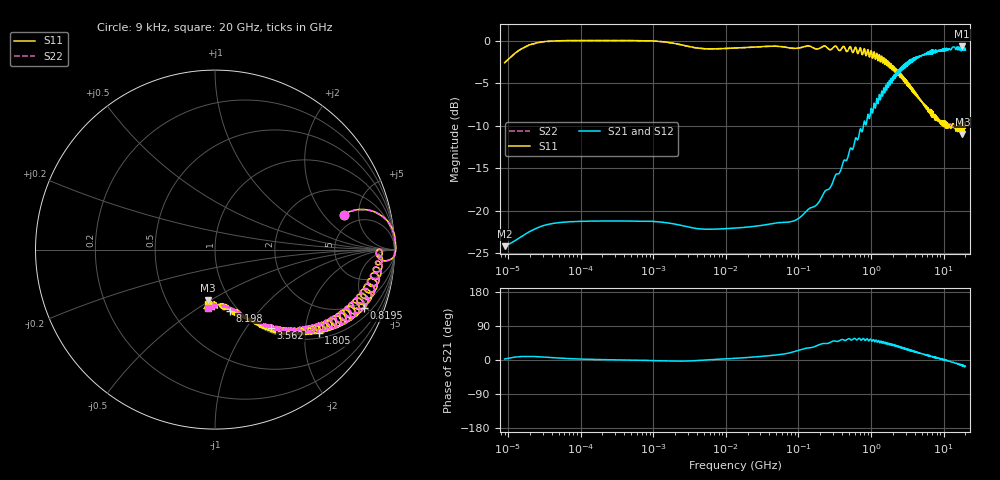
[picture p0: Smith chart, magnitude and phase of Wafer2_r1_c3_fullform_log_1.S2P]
!  2-Port S-parameters saved by WinCal
! VAR MeasName=S-Parameters (CALIBRATED_DATA) read from VNA (P5004A)
! VAR MeasDate=26/04/2024 19:13:18
! VAR NAME=Wafer2_r1_c3_fullform_log
! VAR FILENAME=Wafer2_r1_c3_fullform_log_1.S2P
! VAR DATE=26/04/2024 19:13:18
! VAR PHYS_PORTS=1,2
! VAR ObjTypeName=DATASET
! VAR IndexType=Frequency
# Hz S MA R 50
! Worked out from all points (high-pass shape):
!   2000 points, 9 kHz to 20 GHz, reference 50 ohm
!   highest |S21| = -0.64 dB at 18.05 GHz (marker M1); lowest = -24.2 dB at 9 kHz (marker M2)
!   |S21| within 3 dB of the highest: 2.449 GHz to 2.523 GHz (74.02 MHz wide, 2.98 % of centre); 2.533 GHz to end of sweep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
!   lowest |S11| = -11.0 dB at 18.19 GHz (marker M3), VSWR 1.79, Z = 39.6 - j24.2 ohm
!   |S11| at or under -10 dB: 12.13 GHz to 12.95 GHz (819.6 MHz wide, 6.53 % of centre); 14.26 GHz to 15.26 GHz (993.3 MHz wide, 6.73 % of centre); 15.38 GHz to 16 GHz (621.4 MHz wide, 3.96 % of centre)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
!   |S22| runs from -10.6 to 0.1 dB; largest |S21 - S12| = 0.037
!   S11 on the Smith chart (normalised r, x): 9 kHz: 3.81, +3.33; 819.5 MHz: 1.51, -4.83; 1.805 GHz: 1.14, -2.36; 3.562 GHz: 1.07, -1.32; 8.198 GHz: 0.92, -0.71; 20 GHz: 0.78, -0.52
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9000  0.7447 15.1  0.06171 2.7  0.06255 2.0  0.744 15.1
14160.92  0.8812 14.5  0.0687 8.7  0.06946 8.1  0.8795 14.5
26361.17  0.9804 8.8  0.07957 8.6  0.08027 8.4  0.979 8.8
103439.5  1.006 1.9  0.08645 2.4  0.0871 2.4  1.005 1.9
1180198  0.9964 -2.3  0.08589 -2.0  0.0865 -1.8  0.9953 -2.4
4563799  0.904 -2.4  0.07796 -0.8  0.07875 -0.8  0.9033 -2.3
1.346554e7  0.9086 0.1  0.07891 4.4  0.07942 4.0  0.9082 0.1
8.193022e7  0.9062 -2.5  0.08628 20.6  0.08658 21.0  0.9062 -2.6
1.155229e8  0.9211 -2.1  0.09439 29.2  0.0947 28.7  0.9204 -2.0
1.536358e8  0.9207 -5.2  0.1046 33.1  0.1036 33.3  0.9218 -5.1
2.966476e8  0.906 -6.2  0.1461 49.6  0.1474 49.5  0.9052 -6.1
4.152312e8  0.9297 -10.0  0.1937 53.7  0.1938 53.2  0.9281 -9.8
8.195269e8  0.8922 -21.4  0.3369 52.6  0.3363 52.5  0.8921 -21.0
1.043128e9  0.8011 -26.3  0.3768 50.2  0.3769 50.3  0.8025 -25.9
1.752917e9  0.7069 -35.7  0.538 43.8  0.5407 43.7  0.7062 -35.3
1.804933e9  0.7426 -38.9  0.5853 40.9  0.5823 41.0  0.7455 -38.0
3.562332e9  0.5383 -54.4  0.7685 26.4  0.7705 26.2  0.5375 -53.5
8.197516e9  0.3498 -76.5  0.8736 4.8  0.8675 4.4  0.346 -73.2
1.35755e10  0.3255 -87.5  0.922 -6.0  0.9187 -6.9  0.3092 -85.7
1.805428e10  0.3427 -97.7  0.9285 -14.5  0.9023 -16.0  0.2963 -91.9
1.818676e10  0.2834 -98.2  0.8843 -16.1  0.8722 -14.0  0.3247 -90.9
2e10  0.3061 -97.0  0.8861 -17.0  0.8994 -16.3  0.3276 -96.6
